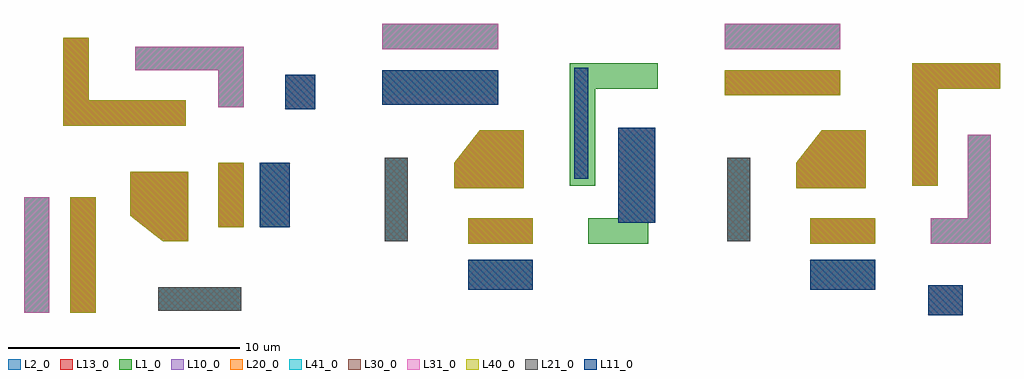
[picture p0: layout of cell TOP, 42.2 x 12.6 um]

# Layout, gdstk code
import gdstk
lib = gdstk.Library(unit=1e-6, precision=1e-09)
def R(c, l, rs):  # rectangles x0, y0, x1, y1
    for r in rs: c.add(gdstk.rectangle(r[:2], r[2:], *l))
def P(c, l, *ps):  # polygons
    for p in ps: c.add(gdstk.Polygon(p, *l))
L1_0 = (1, 0)
L2_0 = (2, 0)
L10_0 = (10, 0)
L11_0 = (11, 0)
L13_0 = (13, 0)
L20_0 = (20, 0)
L21_0 = (21, 0)
L30_0 = (30, 0)
L31_0 = (31, 0)
L40_0 = (40, 0)
L41_0 = (41, 0)

top = lib.new_cell('TOP')
R(top, L1_0, [(1.1,1.2,2.2,3.2), (3.1,1.2,4.2,6.2), (6.9,1.3,10.5,2.3), (20.3,2.4,23.1,3.5), (35.1,2.4,37.9,3.5), (1.1,3.2,2.2,6.2), (20.3,4.2,23.1,5.3), (25.5,4.2,28.1,5.3), (35.1,4.2,37.9,5.3), (40.3,4.2,42.9,5.3), (16.7,4.3,17.7,7.9), (31.5,4.3,32.5,7.9), (9.5,4.9,10.6,7.7), (11.3,4.9,12.4,7.7), (27.1,5.3,28.1,8.9), (41.9,5.3,42.9,8.9), (9.5,10.1,10.6,12.7), (16.6,10.6,21.6,11.7), (31.4,10.6,36.4,11.7), (5.9,11.7,9.5,12.7), (16.6,12.6,18.6,13.7), (18.6,12.6,21.6,13.7), (31.4,12.6,33.4,13.7), (33.4,12.6,36.4,13.7)])
P(top, L1_0, [(19.7,6.6),(19.7,7.7),(20.8,9.1),(22.7,9.1),(22.7,6.6)],
  [(24.7,6.7),(24.7,12),(28.5,12),(28.5,10.9),(25.8,10.9),(25.8,6.7)],
  [(34.5,6.6),(34.5,7.7),(35.6,9.1),(37.5,9.1),(37.5,6.6)],
  [(39.5,6.7),(39.5,12),(43.3,12),(43.3,10.9),(40.6,10.9),(40.6,6.7)],
  [(7.1,4.3),(5.7,5.4),(5.7,7.3),(8.2,7.3),(8.2,4.3)],
  [(2.8,9.3),(2.8,13.1),(3.9,13.1),(3.9,10.4),(8.1,10.4),(8.1,9.3)])
R(top, L2_0, [(40.2,1.1,41.7,2.4), (1.1,1.2,2.2,6.2), (3.1,1.2,4.2,6.2), (6.9,1.3,8.7,2.3), (8.7,1.3,10.5,2.3), (20.3,2.2,23.1,3.5), (35.1,2.2,37.9,3.5), (20.3,4.2,23.1,5.3), (35.1,4.2,37.9,5.3), (16.7,4.3,17.7,6.1), (31.5,4.3,32.5,6.1), (9.5,4.9,10.6,7.7), (11.3,4.9,12.6,7.7), (26.8,5.1,28.4,9.2), (16.7,6.1,17.7,7.9), (31.5,6.1,32.5,7.9), (24.9,7,25.5,11.8), (12.4,10,13.7,11.5), (16.6,10.2,21.6,11.7), (31.4,10.6,36.4,11.7), (16.6,12.6,21.6,13.7), (31.4,12.6,36.4,13.7)])
P(top, L2_0, [(19.7,6.6),(19.7,7.7),(20.8,9.1),(22.7,9.1),(22.7,6.6)],
  [(34.5,6.6),(34.5,7.7),(35.6,9.1),(37.5,9.1),(37.5,6.6)],
  [(7.1,4.3),(5.7,5.4),(5.7,7.3),(8.2,7.3),(8.2,4.3)],
  [(40.3,4.2),(40.3,5.3),(41.9,5.3),(41.9,8.9),(42.9,8.9),(42.9,4.2)],
  [(39.5,6.7),(39.5,12),(43.3,12),(43.3,10.9),(40.6,10.9),(40.6,6.7)],
  [(9.5,10.1),(9.5,11.7),(5.9,11.7),(5.9,12.7),(10.6,12.7),(10.6,10.1)],
  [(2.8,9.3),(2.8,13.1),(3.9,13.1),(3.9,10.4),(8.1,10.4),(8.1,9.3)])
R(top, L10_0, [(1.1,1.2,2.2,6.2), (3.1,1.2,4.2,6.2), (6.9,1.3,10.5,2.3), (20.3,4.2,23.1,5.3), (35.1,4.2,37.9,5.3), (16.7,4.3,17.7,7.9), (31.5,4.3,32.5,7.9), (9.5,4.9,10.6,7.7), (31.4,10.6,36.4,11.7), (16.6,12.6,21.6,13.7), (31.4,12.6,36.4,13.7)])
P(top, L10_0, [(19.7,6.6),(19.7,7.7),(20.8,9.1),(22.7,9.1),(22.7,6.6)],
  [(34.5,6.6),(34.5,7.7),(35.6,9.1),(37.5,9.1),(37.5,6.6)],
  [(7.1,4.3),(5.7,5.4),(5.7,7.3),(8.2,7.3),(8.2,4.3)],
  [(40.3,4.2),(40.3,5.3),(41.9,5.3),(41.9,8.9),(42.9,8.9),(42.9,4.2)],
  [(39.5,6.7),(39.5,12),(43.3,12),(43.3,10.9),(40.6,10.9),(40.6,6.7)],
  [(9.5,10.1),(9.5,11.7),(5.9,11.7),(5.9,12.7),(10.6,12.7),(10.6,10.1)],
  [(2.8,9.3),(2.8,13.1),(3.9,13.1),(3.9,10.4),(8.1,10.4),(8.1,9.3)])
R(top, L11_0, [(40.2,1.1,41.7,2.4), (20.3,2.2,23.1,3.5), (35.1,2.2,37.9,3.5), (11.3,4.9,12.6,7.7), (26.8,5.1,28.4,9.2), (24.9,7,25.5,11.8), (12.4,10,13.7,11.5), (16.6,10.2,21.6,11.7)])
R(top, L13_0, [(40.2,1.1,41.7,2.4), (1.1,1.2,2.2,6.2), (3.1,1.2,4.2,6.2), (6.9,1.3,8.7,2.3), (8.7,1.3,10.5,2.3), (20.3,2.2,23.1,3.5), (35.1,2.2,37.9,3.5), (20.3,4.2,23.1,5.3), (35.1,4.2,37.9,5.3), (16.7,4.3,17.7,6.1), (31.5,4.3,32.5,6.1), (9.5,4.9,10.6,7.7), (11.3,4.9,12.6,7.7), (26.8,5.1,28.4,9.2), (16.7,6.1,17.7,7.9), (31.5,6.1,32.5,7.9), (24.9,7,25.5,11.8), (12.4,10,13.7,11.5), (16.6,10.2,21.6,11.7), (31.4,10.6,36.4,11.7), (16.6,12.6,21.6,13.7), (31.4,12.6,36.4,13.7)])
P(top, L13_0, [(19.7,6.6),(19.7,7.7),(20.8,9.1),(22.7,9.1),(22.7,6.6)],
  [(34.5,6.6),(34.5,7.7),(35.6,9.1),(37.5,9.1),(37.5,6.6)],
  [(7.1,4.3),(5.7,5.4),(5.7,7.3),(8.2,7.3),(8.2,4.3)],
  [(40.3,4.2),(40.3,5.3),(41.9,5.3),(41.9,8.9),(42.9,8.9),(42.9,4.2)],
  [(39.5,6.7),(39.5,12),(43.3,12),(43.3,10.9),(40.6,10.9),(40.6,6.7)],
  [(9.5,10.1),(9.5,11.7),(5.9,11.7),(5.9,12.7),(10.6,12.7),(10.6,10.1)],
  [(2.8,9.3),(2.8,13.1),(3.9,13.1),(3.9,10.4),(8.1,10.4),(8.1,9.3)])
R(top, L20_0, [(1.1,1.2,2.2,6.2), (3.1,1.2,4.2,6.2), (20.3,4.2,23.1,5.3), (35.1,4.2,37.9,5.3), (9.5,4.9,10.6,7.7), (31.4,10.6,36.4,11.7), (16.6,12.6,21.6,13.7), (31.4,12.6,36.4,13.7)])
P(top, L20_0, [(19.7,6.6),(19.7,7.7),(20.8,9.1),(22.7,9.1),(22.7,6.6)],
  [(34.5,6.6),(34.5,7.7),(35.6,9.1),(37.5,9.1),(37.5,6.6)],
  [(7.1,4.3),(5.7,5.4),(5.7,7.3),(8.2,7.3),(8.2,4.3)],
  [(40.3,4.2),(40.3,5.3),(41.9,5.3),(41.9,8.9),(42.9,8.9),(42.9,4.2)],
  [(39.5,6.7),(39.5,12),(43.3,12),(43.3,10.9),(40.6,10.9),(40.6,6.7)],
  [(9.5,10.1),(9.5,11.7),(5.9,11.7),(5.9,12.7),(10.6,12.7),(10.6,10.1)],
  [(2.8,9.3),(2.8,13.1),(3.9,13.1),(3.9,10.4),(8.1,10.4),(8.1,9.3)])
R(top, L21_0, [(40.2,1.1,41.7,2.4), (6.9,1.3,8.7,2.3), (8.7,1.3,10.5,2.3), (20.3,2.2,23.1,3.5), (35.1,2.2,37.9,3.5), (16.7,4.3,17.7,6.1), (31.5,4.3,32.5,6.1), (11.3,4.9,12.6,7.7), (26.8,5.1,28.4,9.2), (16.7,6.1,17.7,7.9), (31.5,6.1,32.5,7.9), (24.9,7,25.5,11.8), (12.4,10,13.7,11.5), (16.6,10.2,21.6,11.7)])
R(top, L30_0, [(3.1,1.2,4.2,6.2), (6.9,1.3,10.5,2.3), (20.3,4.2,23.1,5.3), (35.1,4.2,37.9,5.3), (16.7,4.3,17.7,7.9), (31.5,4.3,32.5,7.9), (9.5,4.9,10.6,7.7), (31.4,10.6,36.4,11.7)])
P(top, L30_0, [(19.7,6.6),(19.7,7.7),(20.8,9.1),(22.7,9.1),(22.7,6.6)],
  [(34.5,6.6),(34.5,7.7),(35.6,9.1),(37.5,9.1),(37.5,6.6)],
  [(7.1,4.3),(5.7,5.4),(5.7,7.3),(8.2,7.3),(8.2,4.3)],
  [(39.5,6.7),(39.5,12),(43.3,12),(43.3,10.9),(40.6,10.9),(40.6,6.7)],
  [(2.8,9.3),(2.8,13.1),(3.9,13.1),(3.9,10.4),(8.1,10.4),(8.1,9.3)])
R(top, L31_0, [(40.2,1.1,41.7,2.4), (1.1,1.2,2.2,6.2), (20.3,2.2,23.1,3.5), (35.1,2.2,37.9,3.5), (11.3,4.9,12.6,7.7), (26.8,5.1,28.4,9.2), (24.9,7,25.5,11.8), (12.4,10,13.7,11.5), (16.6,10.2,21.6,11.7), (16.6,12.6,21.6,13.7), (31.4,12.6,36.4,13.7)])
P(top, L31_0, [(40.3,4.2),(40.3,5.3),(41.9,5.3),(41.9,8.9),(42.9,8.9),(42.9,4.2)],
  [(9.5,10.1),(9.5,11.7),(5.9,11.7),(5.9,12.7),(10.6,12.7),(10.6,10.1)])
R(top, L40_0, [(3.1,1.2,4.2,6.2), (20.3,4.2,23.1,5.3), (35.1,4.2,37.9,5.3), (9.5,4.9,10.6,7.7), (31.4,10.6,36.4,11.7)])
P(top, L40_0, [(19.7,6.6),(19.7,7.7),(20.8,9.1),(22.7,9.1),(22.7,6.6)],
  [(34.5,6.6),(34.5,7.7),(35.6,9.1),(37.5,9.1),(37.5,6.6)],
  [(7.1,4.3),(5.7,5.4),(5.7,7.3),(8.2,7.3),(8.2,4.3)],
  [(39.5,6.7),(39.5,12),(43.3,12),(43.3,10.9),(40.6,10.9),(40.6,6.7)],
  [(2.8,9.3),(2.8,13.1),(3.9,13.1),(3.9,10.4),(8.1,10.4),(8.1,9.3)])
R(top, L41_0, [(40.2,1.1,41.7,2.4), (1.1,1.2,2.2,6.2), (6.9,1.3,8.7,2.3), (8.7,1.3,10.5,2.3), (20.3,2.2,23.1,3.5), (35.1,2.2,37.9,3.5), (16.7,4.3,17.7,6.1), (31.5,4.3,32.5,6.1), (11.3,4.9,12.6,7.7), (26.8,5.1,28.4,9.2), (16.7,6.1,17.7,7.9), (31.5,6.1,32.5,7.9), (24.9,7,25.5,11.8), (12.4,10,13.7,11.5), (16.6,10.2,21.6,11.7), (16.6,12.6,21.6,13.7), (31.4,12.6,36.4,13.7)])
P(top, L41_0, [(40.3,4.2),(40.3,5.3),(41.9,5.3),(41.9,8.9),(42.9,8.9),(42.9,4.2)],
  [(9.5,10.1),(9.5,11.7),(5.9,11.7),(5.9,12.7),(10.6,12.7),(10.6,10.1)])

lib.write_gds('TOP.gds')
